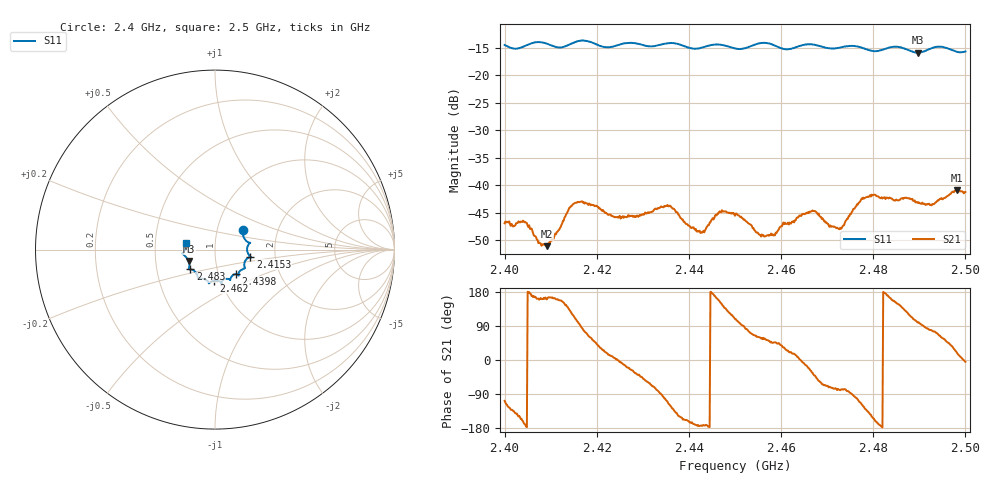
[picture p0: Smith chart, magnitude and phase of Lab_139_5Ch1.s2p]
# Hz S RI R 50
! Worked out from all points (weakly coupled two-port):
!   601 points, 2.4 GHz to 2.5 GHz, reference 50 ohm
!   highest |S21| = -40.86 dB at 2.4982 GHz (marker M1); lowest = -51.0 dB at 2.4092 GHz (marker M2)
!   lowest |S11| = -15.9 dB at 2.4897 GHz (marker M3), VSWR 1.38, Z = 36.9 - j4.8 ohm
!   |S11| at or under -10 dB: start of sweep to end of sweep
!   S12 and S22 are empty: the file has one direction only
!   S11 on the Smith chart (normalised r, x): 2.4 GHz: 1.33, +0.29; 2.4153 GHz: 1.48, -0.12; 2.4398 GHz: 1.21, -0.34; 2.462 GHz: 0.93, -0.33; 2.483 GHz: 0.74, -0.17; 2.5 GHz: 0.72, +0.06
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2.4e9  0.155 0.1066  -0.00137 -0.00431  0 0  0 0
2.404333e9  0.1782 0.0451  -0.00453 -0.000905  0 0  0 0
2.409167e9  0.1906 0.033  -0.00263 0.000967  0 0  0 0
2.415333e9  0.1966 -0.0388  -0.00227 0.00655  0 0  0 0
2.416667e9  0.2021 -0.0429  0.000457 0.00711  0 0  0 0
2.424167e9  0.163 -0.0887  0.00513 0.000136  0 0  0 0
2.433333e9  0.1311 -0.1337  0.000862 -0.00618  0 0  0 0
2.435833e9  0.1322 -0.1447  -0.00313 -0.00575  0 0  0 0
2.439833e9  0.1153 -0.1363  -0.00407 -0.00143  0 0  0 0
2.443e9  0.0894 -0.1549  -0.00371 -0.000483  0 0  0 0
2.446667e9  0.0848 -0.1699  -0.00523 0.00252  0 0  0 0
2.45e9  0.0648 -0.1628  -0.00167 0.00503  0 0  0 0
2.456167e9  0.0386 -0.193  0.00185 0.003  0 0  0 0
2.462e9  -0.00511 -0.1732  0.00421 0.00159  0 0  0 0
2.466667e9  -0.0343 -0.1877  0.00491 -0.00313  0 0  0 0
2.472667e9  -0.0768 -0.1605  0.000783 -0.00392  0 0  0 0
2.477833e9  -0.0982 -0.1463  -0.00416 -0.00653  0 0  0 0
2.483e9  -0.1376 -0.1094  -0.00763 0.00128  0 0  0 0
2.483333e9  -0.1402 -0.1092  -0.00742 0.00167  0 0  0 0
2.489667e9  -0.1473 -0.0634  -0.00108 0.00686  0 0  0 0
2.498167e9  -0.163 0.00803  0.00857 0.00292  0 0  0 0
2.5e9  -0.1597 0.0391  0.00867 -0.000743  0 0  0 0
